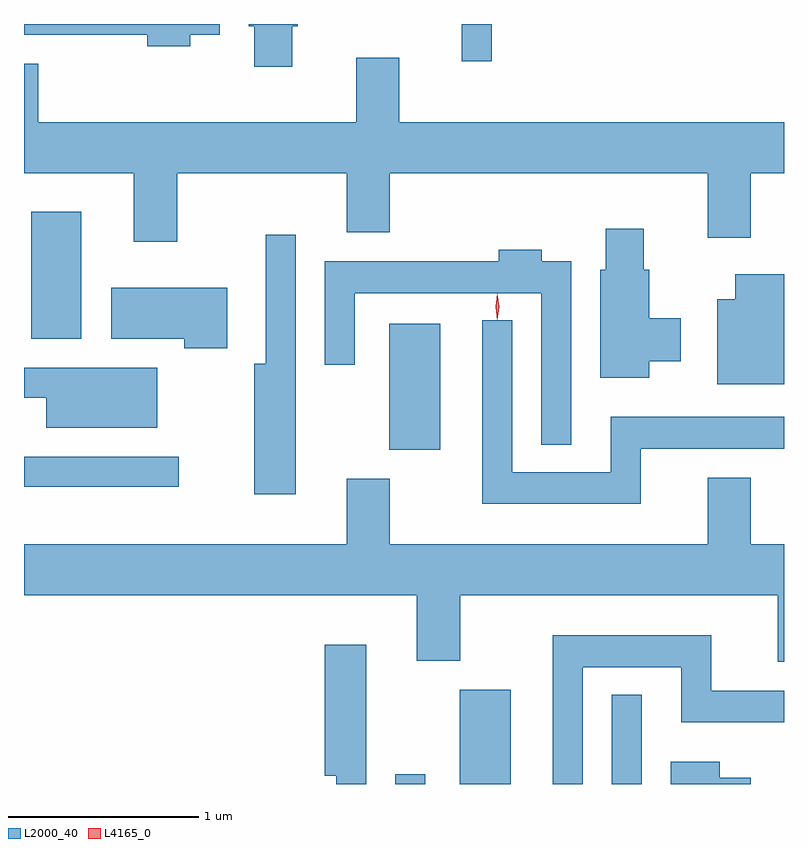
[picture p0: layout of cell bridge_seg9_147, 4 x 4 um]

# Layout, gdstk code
import gdstk
lib = gdstk.Library(unit=1e-6, precision=1e-09)
def R(c, l, rs):  # rectangles x0, y0, x1, y1
    for r in rs: c.add(gdstk.rectangle(r[:2], r[2:], *l))
def P(c, l, *ps):  # polygons
    for p in ps: c.add(gdstk.Polygon(p, *l))
L2000_40 = (2000, 40)
L4165_0 = (4165, 0)

bridge_seg9_147 = lib.new_cell('bridge_seg9_147')
R(bridge_seg9_147, L2000_40, [(1440.736,2068.522,1440.894,2068.573), (1441.076,2068.522,1441.344,2069.019), (1441.876,2068.522,1442.034,2068.992), (1438.783,2070.086,1439.598,2070.244), (1440.706,2070.281,1440.974,2070.944), (1438.821,2070.866,1439.084,2071.534), (1441.086,2072.327,1441.244,2072.522)])
P(bridge_seg9_147, L2000_40, [(1440.194,2072.511),(1440.224,2072.511),(1440.224,2072.522),(1439.966,2072.522),(1439.966,2072.511),(1439.996,2072.511),(1439.996,2072.296),(1440.194,2072.296)],
  [(1439.659,2072.466),(1439.814,2072.466),(1439.814,2072.522),(1438.783,2072.522),(1438.783,2072.466),(1439.431,2072.466),(1439.431,2072.406),(1439.659,2072.406)],
  [(1439.589,2071.736),(1440.481,2071.736),(1440.481,2071.426),(1440.709,2071.426),(1440.709,2071.736),(1442.381,2071.736),(1442.381,2071.396),(1442.609,2071.396),(1442.609,2071.736),(1442.783,2071.736),(1442.783,2072.004),(1440.759,2072.004),(1440.759,2072.344),(1440.531,2072.344),(1440.531,2072.004),(1438.859,2072.004),(1438.859,2072.314),(1438.783,2072.314),(1438.783,2071.736),(1439.361,2071.736),(1439.361,2071.376),(1439.589,2071.376)],
  [(1442.074,2070.746),(1442.239,2070.746),(1442.239,2070.974),(1442.074,2070.974),(1442.074,2071.229),(1442.044,2071.229),(1442.044,2071.444),(1441.846,2071.444),(1441.846,2071.229),(1441.816,2071.229),(1441.816,2070.661),(1442.074,2070.661)],
  [(1440.214,2071.413),(1440.056,2071.413),(1440.056,2070.734),(1439.996,2070.734),(1439.996,2070.046),(1440.214,2070.046)],
  [(1441.664,2071.274),(1441.509,2071.274),(1441.509,2071.334),(1441.281,2071.334),(1441.281,2071.274),(1440.366,2071.274),(1440.366,2070.728),(1440.524,2070.728),(1440.524,2071.106),(1441.506,2071.106),(1441.506,2070.308),(1441.664,2070.308)],
  [(1442.783,2071.204),(1442.526,2071.204),(1442.526,2071.074),(1442.431,2071.074),(1442.431,2070.626),(1442.783,2070.626)],
  [(1439.854,2071.134),(1439.241,2071.134),(1439.241,2070.866),(1439.626,2070.866),(1439.626,2070.816),(1439.854,2070.816)],
  [(1442.029,2070.286),(1442.783,2070.286),(1442.783,2070.454),(1441.871,2070.454),(1441.871,2070.164),(1441.354,2070.164),(1441.354,2070.963),(1441.196,2070.963),(1441.196,2069.996),(1442.029,2069.996)],
  [(1439.484,2070.714),(1438.783,2070.714),(1438.783,2070.556),(1438.901,2070.556),(1438.901,2070.396),(1439.484,2070.396)],
  [(1442.783,2069.784),(1442.609,2069.784),(1442.609,2070.134),(1442.381,2070.134),(1442.381,2069.784),(1440.709,2069.784),(1440.709,2070.129),(1440.481,2070.129),(1440.481,2069.784),(1438.783,2069.784),(1438.783,2069.516),(1440.851,2069.516),(1440.851,2069.171),(1441.079,2069.171),(1441.079,2069.516),(1442.751,2069.516),(1442.751,2069.166),(1442.783,2069.166)],
  [(1441.724,2069.136),(1442.241,2069.136),(1442.241,2068.846),(1442.783,2068.846),(1442.783,2069.014),(1442.399,2069.014),(1442.399,2069.304),(1441.566,2069.304),(1441.566,2068.522),(1441.724,2068.522)],
  [(1440.584,2069.254),(1440.366,2069.254),(1440.366,2068.566),(1440.426,2068.566),(1440.426,2068.522),(1440.584,2068.522)],
  [(1442.609,2068.554),(1442.444,2068.554),(1442.444,2068.639),(1442.186,2068.639),(1442.186,2068.522),(1442.609,2068.522)])
P(bridge_seg9_147, L4165_0, [(1441.274,2070.964),(1441.265,2071.033),(1441.274,2071.102),(1441.275,2071.103),(1441.275,2071.102),(1441.285,2071.033),(1441.275,2070.964),(1441.275,2070.964)],
  [(1441.275,2070.967),(1441.274,2070.968),(1441.265,2071.034),(1441.274,2071.1),(1441.274,2071.1),(1441.275,2071.1),(1441.284,2071.034),(1441.275,2070.968)])

lib.write_gds('bridge_seg9_147.gds')
